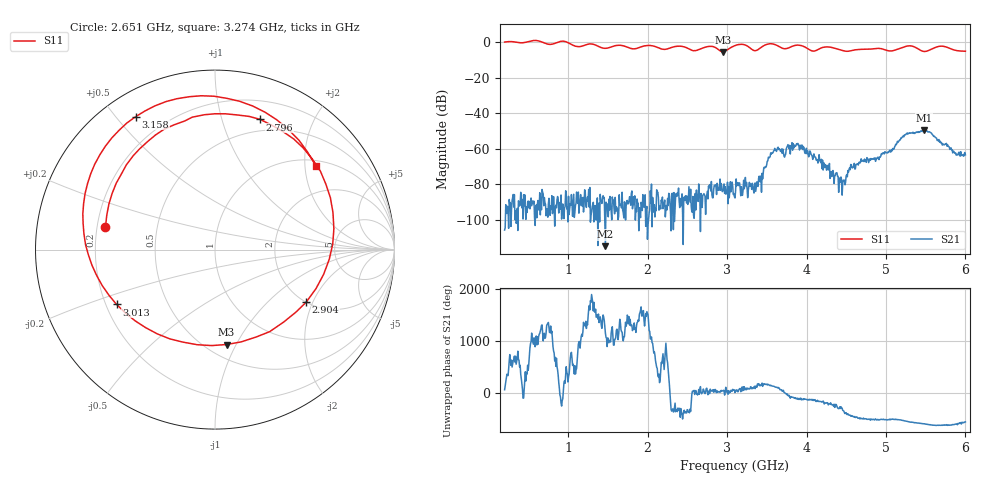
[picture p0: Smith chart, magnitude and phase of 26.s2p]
! NanoVNA-App
! Date: 2024-06-25 16:11:40
! Start: 200MHz Stop: 6GHz Points: 801
! S-Parameter data: F S11 S21 S12 S22
# Hz S RI R 50
!  Frequency  S11_Real  S11_Imag  S21_Real  S21_Imag  S12_Real  S12_Imag  S22_Real  S22_Imag
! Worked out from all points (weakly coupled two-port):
!   801 points, 200 MHz to 6 GHz, reference 50 ohm
!   highest |S21| = -49.61 dB at 5.478 GHz (marker M1); lowest = -114.8 dB at 1.469 GHz (marker M2)
!   lowest |S11| = -5.5 dB at 2.948 GHz (marker M3), VSWR 3.28, Z = 31 - j45.8 ohm
!   |S11| at or under -10 dB: nowhere
!   S12 and S22 are empty: the file has one direction only
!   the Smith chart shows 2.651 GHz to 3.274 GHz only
!   S11 on the Smith chart (normalised r, x): 2.651 GHz: 0.23, +0.10; 2.796 GHz: 0.38, +1.34; 2.904 GHz: 2.00, -1.79; 3.013 GHz: 0.24, -0.25; 3.158 GHz: 0.10, +0.56; 3.274 GHz: 1.15, +2.28
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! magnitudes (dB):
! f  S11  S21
! 200 MHz  0.0  -105.7
! 1.171 GHz  -2.3  -87.5
! 1.469 GHz  -3.5  -114.8
! 2.136 GHz  -3.1  -87.4
! 2.651 GHz  -4.1  -85.5
! 2.796 GHz  -2.3  -83.8
! 2.904 GHz  -4.6  -83.2
! 2.948 GHz  -5.5  -83.7
! 3.013 GHz  -4.0  -90.9
! 3.1 GHz  -1.9  -87.7
! 3.158 GHz  -1.3  -79.2
! 3.274 GHz  -2.7  -81.1
! 3.405 GHz  -3.8  -75.4
! 3.615 GHz  -1.6  -60.5
! 3.876 GHz  -1.7  -57.1
! 4.072 GHz  -5.0  -64.1
! 4.463 GHz  -4.8  -77.7
! 4.572 GHz  -4.7  -70.6
! 5.036 GHz  -4.9  -61.9
! 5.239 GHz  -2.5  -52.1
! 5.478 GHz  -5.3  -49.6
! 6 GHz  -5.1  -63.4
